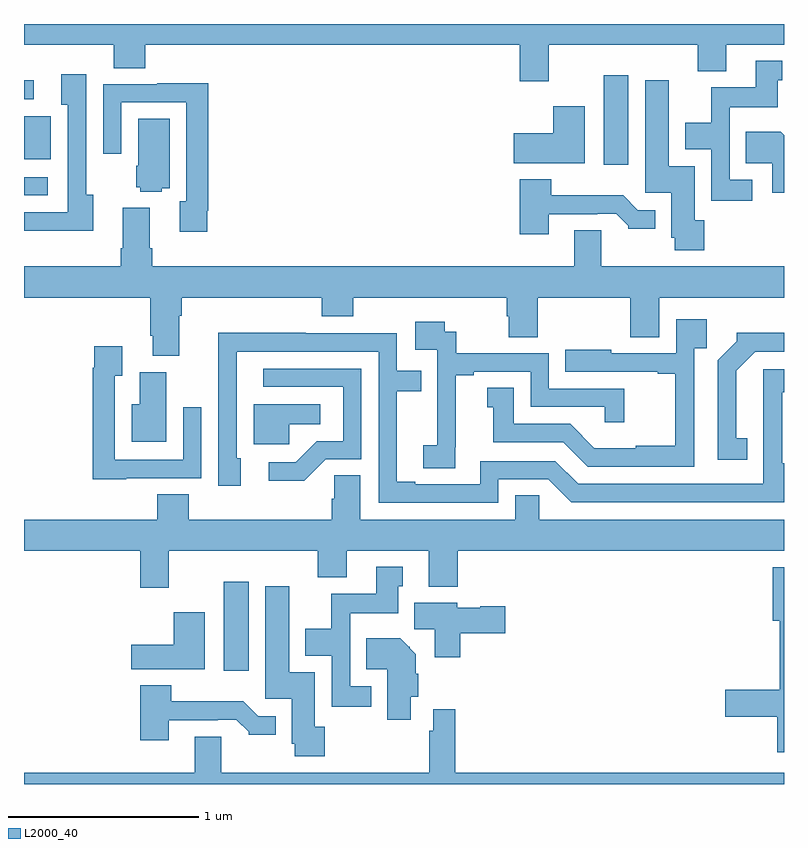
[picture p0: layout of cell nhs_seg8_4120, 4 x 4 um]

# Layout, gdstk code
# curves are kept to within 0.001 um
import gdstk
lib = gdstk.Library(unit=1e-6, precision=1e-09)
def R(c, l, rs):  # rectangles x0, y0, x1, y1
    for r in rs: c.add(gdstk.rectangle(r[:2], r[2:], *l))
def P(c, l, *ps):  # polygons
    for p in ps: c.add(gdstk.Polygon(p, *l))
L2000_40 = (2000, 40)

nhs_seg8_4120 = lib.new_cell('nhs_seg8_4120')
R(nhs_seg8_4120, L2000_40, [(364.052,1154.496,364.183,1154.965), (363,1156.998,363.124,1157.094), (366.05,1157.16,366.181,1157.629), (363,1157.187,363.142,1157.415), (363,1157.505,363.052,1157.603)])
P(nhs_seg8_4120, L2000_40, [(365.761,1157.792),(366.545,1157.792),(366.545,1157.651),(366.697,1157.651),(366.697,1157.792),(367,1157.792),(367,1157.9),(363,1157.9),(363,1157.792),(363.473,1157.792),(363.473,1157.668),(363.638,1157.668),(363.638,1157.792),(365.609,1157.792),(365.609,1157.598),(365.761,1157.598)],
  [(366.832,1157.079),(366.714,1157.079),(366.714,1157.462),(366.967,1157.462),(366.967,1157.604),(366.991,1157.604),(366.991,1157.707),(366.851,1157.707),(366.851,1157.566),(366.616,1157.566),(366.616,1157.38),(366.479,1157.38),(366.479,1157.24),(366.618,1157.24),(366.618,1156.971),(366.832,1156.971)],
  [(363.364,1157.002),(363.327,1157.002),(363.327,1157.635),(363.197,1157.635),(363.197,1157.474),(363.231,1157.474),(363.231,1156.908),(363,1156.908),(363,1156.811),(363.364,1156.811)],
  [(366.581,1156.866),(366.529,1156.866),(366.529,1157.152),(366.394,1157.152),(366.394,1157.605),(366.269,1157.605),(366.269,1157.013),(366.407,1157.013),(366.407,1156.776),(366.424,1156.776),(366.424,1156.71),(366.581,1156.71)],
  [(363.964,1156.918),(363.971,1156.918),(363.971,1157.587),(363.701,1157.587),(363.701,1157.583),(363.417,1157.583),(363.417,1157.217),(363.513,1157.217),(363.513,1157.487),(363.855,1157.487),(363.855,1156.967),(363.821,1156.967),(363.821,1156.806),(363.964,1156.806)],
  [(365.95,1157.467),(365.786,1157.467),(365.786,1157.326),(365.577,1157.326),(365.577,1157.168),(365.95,1157.168)],
  [(363.726,1157.036),(363.766,1157.036),(363.766,1157.402),(363.602,1157.402),(363.602,1157.154),(363.59,1157.154),(363.59,1157.04),(363.612,1157.04),(363.612,1157.018),(363.726,1157.018)],
  [(367,1157.314),(366.982,1157.332),(366.799,1157.332),(366.799,1157.168),(366.938,1157.168),(366.938,1157.011),(367,1157.011)],
  [(365.761,1156.899),(366.017,1156.899),(366.017,1156.902),(366.116,1156.902),(366.18,1156.838),(366.18,1156.823),(366.322,1156.823),(366.322,1156.92),(366.231,1156.92),(366.153,1156.999),(365.774,1156.999),(365.774,1157.083),(365.609,1157.083),(365.609,1156.794),(365.761,1156.794)],
  [(363.817,1156.364),(363.83,1156.364),(363.83,1156.46),(364.568,1156.46),(364.568,1156.361),(364.733,1156.361),(364.733,1156.46),(365.54,1156.46),(365.54,1156.362),(365.552,1156.362),(365.552,1156.252),(365.705,1156.252),(365.705,1156.46),(366.191,1156.46),(366.191,1156.252),(366.343,1156.252),(366.343,1156.46),(367,1156.46),(367,1156.624),(366.037,1156.624),(366.037,1156.814),(365.897,1156.814),(365.897,1156.624),(363.674,1156.624),(363.674,1156.72),(363.661,1156.72),(363.661,1156.933),(363.521,1156.933),(363.521,1156.72),(363.509,1156.72),(363.509,1156.624),(363,1156.624),(363,1156.46),(363.665,1156.46),(363.665,1156.258),(363.677,1156.258),(363.677,1156.153),(363.817,1156.153)],
  [(366.528,1156.193),(366.593,1156.193),(366.593,1156.345),(366.432,1156.345),(366.432,1156.167),(366.091,1156.167),(366.091,1156.186),(365.848,1156.186),(365.848,1156.071),(366.335,1156.071),(366.335,1156.059),(366.427,1156.059),(366.427,1155.679),(366.221,1155.679),(366.221,1155.667),(366.002,1155.667),(365.874,1155.795),(365.578,1155.795),(365.578,1155.986),(365.438,1155.986),(365.438,1155.883),(365.471,1155.883),(365.471,1155.699),(365.838,1155.699),(365.967,1155.57),(366.528,1155.57)],
  [(365.27,1155.673),(365.272,1155.673),(365.272,1156.051),(365.368,1156.051),(365.368,1156.071),(365.667,1156.071),(365.667,1155.885),(366.057,1155.885),(366.057,1155.804),(366.158,1155.804),(366.158,1155.981),(365.763,1155.981),(365.763,1156.167),(365.276,1156.167),(365.276,1156.281),(365.214,1156.281),(365.214,1156.333),(365.058,1156.333),(365.058,1156.185),(365.175,1156.185),(365.175,1155.881),(365.174,1155.881),(365.174,1155.684),(365.1,1155.684),(365.1,1155.562),(365.27,1155.562)],
  [(366.806,1155.719),(366.748,1155.719),(366.748,1156.075),(366.849,1156.176),(367,1156.176),(367,1156.274),(366.75,1156.274),(366.75,1156.229),(366.651,1156.13),(366.651,1155.606),(366.806,1155.606)],
  [(365.496,1155.504),(365.76,1155.504),(365.88,1155.384),(367,1155.384),(367,1155.587),(366.99,1155.587),(366.99,1155.963),(367,1155.963),(367,1156.084),(366.89,1156.084),(366.891,1155.48),(365.916,1155.48),(365.796,1155.6),(365.4,1155.6),(365.4,1155.477),(365.059,1155.477),(365.059,1155.492),(364.963,1155.492),(364.963,1155.966),(365.09,1155.966),(365.09,1156.074),(364.962,1156.074),(364.962,1156.272),(364.484,1156.272),(364.484,1156.274),(364.022,1156.274),(364.023,1155.471),(364.141,1155.471),(364.141,1155.615),(364.119,1155.615),(364.119,1156.176),(364.866,1156.176),(364.866,1155.381),(365.496,1155.381)],
  [(363.537,1155.51),(363.933,1155.51),(363.933,1155.883),(363.837,1155.883),(363.837,1155.606),(363.477,1155.606),(363.477,1156.048),(363.517,1156.048),(363.517,1156.204),(363.369,1156.204),(363.369,1156.091),(363.361,1156.091),(363.361,1155.503),(363.537,1155.503)],
  [(364.587,1155.609),(364.776,1155.609),(364.776,1156.086),(364.26,1156.086),(364.26,1155.99),(364.68,1155.99),(364.68,1155.705),(364.542,1155.705),(364.431,1155.594),(364.287,1155.594),(364.287,1155.497),(364.474,1155.497)],
  [(363.748,1156.068),(363.608,1156.068),(363.608,1155.898),(363.566,1155.898),(363.566,1155.701),(363.748,1155.701)],
  [(364.395,1155.794),(364.558,1155.794),(364.558,1155.898),(364.208,1155.898),(364.208,1155.687),(364.395,1155.687)],
  [(363.763,1155.128),(364.547,1155.128),(364.547,1154.987),(364.699,1154.987),(364.699,1155.128),(365.129,1155.128),(365.129,1154.939),(365.282,1154.939),(365.282,1155.128),(367,1155.128),(367,1155.292),(365.712,1155.292),(365.712,1155.419),(365.585,1155.419),(365.585,1155.292),(364.771,1155.292),(364.771,1155.524),(364.632,1155.524),(364.632,1155.401),(364.619,1155.401),(364.619,1155.292),(363.866,1155.292),(363.866,1155.425),(363.701,1155.425),(363.701,1155.292),(363,1155.292),(363,1155.128),(363.611,1155.128),(363.611,1154.934),(363.763,1154.934)],
  [(364.828,1154.415),(364.716,1154.415),(364.716,1154.798),(364.969,1154.798),(364.969,1154.94),(364.993,1154.94),(364.993,1155.043),(364.853,1155.043),(364.853,1154.902),(364.618,1154.902),(364.618,1154.716),(364.481,1154.716),(364.481,1154.576),(364.62,1154.576),(364.62,1154.307),(364.828,1154.307)],
  [(367,1155.04),(366.941,1155.04),(366.941,1154.76),(366.977,1154.76),(366.977,1154.396),(366.69,1154.396),(366.69,1154.254),(366.965,1154.254),(366.965,1154.067),(367,1154.067)],
  [(364.583,1154.202),(364.531,1154.202),(364.531,1154.488),(364.396,1154.488),(364.396,1154.941),(364.271,1154.941),(364.271,1154.349),(364.409,1154.349),(364.409,1154.112),(364.426,1154.112),(364.426,1154.046),(364.583,1154.046)],
  [(365.297,1154.693),(365.533,1154.693),(365.533,1154.835),(365.4,1154.835),(365.4,1154.827),(365.28,1154.827),(365.28,1154.854),(365.054,1154.854),(365.054,1154.715),(365.162,1154.715),(365.162,1154.568),(365.297,1154.568)],
  [(363.952,1154.803),(363.788,1154.803),(363.788,1154.634),(363.564,1154.634),(363.564,1154.504),(363.952,1154.504)],
  [(365.035,1154.358),(365.075,1154.358),(365.075,1154.48),(365.062,1154.48),(365.062,1154.583),(365.031,1154.614),(365.031,1154.622),(365.025,1154.622),(364.979,1154.668),(364.801,1154.668),(364.801,1154.504),(364.913,1154.504),(364.913,1154.238),(365.035,1154.238)],
  [(363.763,1154.235),(364.019,1154.235),(364.019,1154.238),(364.118,1154.238),(364.182,1154.174),(364.182,1154.159),(364.324,1154.159),(364.324,1154.256),(364.233,1154.256),(364.155,1154.335),(363.776,1154.335),(363.776,1154.419),(363.611,1154.419),(363.611,1154.13),(363.763,1154.13)],
  [(367,1153.96),(365.27,1153.96),(365.27,1154.293),(365.154,1154.293),(365.154,1154.18),(365.134,1154.18),(365.134,1153.96),(364.039,1153.96),(364.039,1154.15),(363.899,1154.15),(363.899,1153.96),(363,1153.96),(363,1153.9),(367,1153.9)])

lib.write_gds('nhs_seg8_4120.gds')
